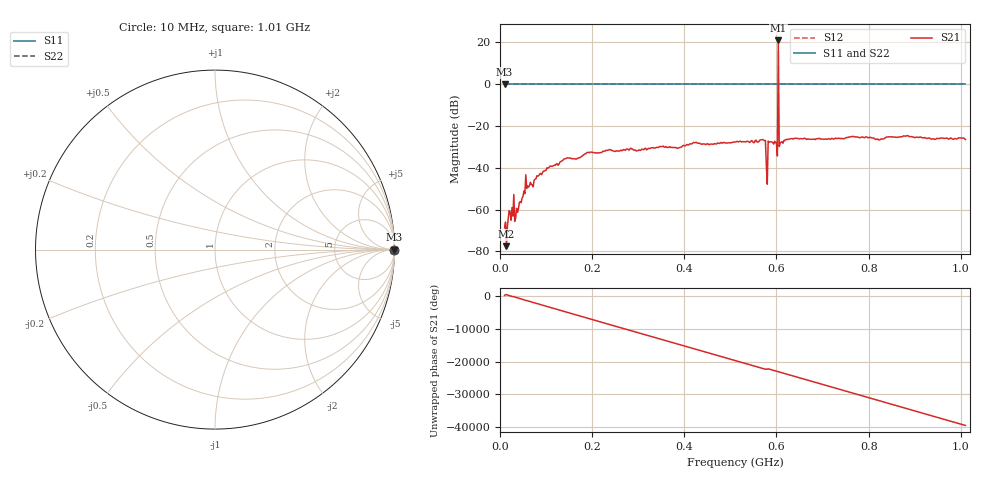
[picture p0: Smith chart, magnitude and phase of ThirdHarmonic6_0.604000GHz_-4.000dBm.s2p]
! 8/15/2025 7:43:51 PM
! C:\ANRITSUVNA\TEMP\TEMP.S2P
! CHANNEL.1
! TR.MEASUREMENT
! RAW.DATA
! RF.CORRECTION.OFF
! AVERAGING.OFF
! IF.BANDWIDTH: 5KHZ
! SWEEPTYPE:  FREQ.SWEEP(Linear)
! Reference Plane Port Info
! PORT:  PORT1  PORT2
! DISTANCE:  0  m  0  m
! TIME:  0  s  0  s
! PHASE.OFFSET:  0  deg.  0  deg.
! LOSS:  0  dB  0  dB
! REF.LOSS:  0  dB  0  dB
! REF.FREQ:  0  Hz  0  Hz
! Power Info
! POWER:  -20  dBm  -20  dBm
! EFF.POWER:  -20  dBm  -20  dBm
! SOURCE.ATTEN:  0  dB  0  dB
! TEST.ATTEN:  0  dB  0  dB
# GHZ S RI R 50.0
! FREQ.GHZ  S11RE  S11IM  S21RE  S21IM  S12RE  S12IM  S22RE  S22IM
!; PortSelection: Port_12
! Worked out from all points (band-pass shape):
!   501 points, 10 MHz to 1.01 GHz, reference 50 ohm
!   highest |S21| = 20.96 dB at 604 MHz (marker M1); lowest = -77.5 dB at 14 MHz (marker M2)
!   |S21| within 3 dB of the highest: 603.8915 MHz to 604.1182 MHz (226.7 kHz wide, 0.0375 % of centre)
!   lowest |S11| = 0.0 dB at 10 MHz (marker M3)
!   |S11| at or under -10 dB: nowhere
!   |S22| runs from 0.0 to 0.0 dB; largest |S21 - S12| = 10
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0.01  1 0  -0.000359 5.59e-05  1 0  1 0
0.014  1 0  8.21e-05 0.000105  1 0  1 0
0.022  1 0  0.000816 -0.000316  1 0  1 0
0.026  1 0  -0.00111 5.1e-05  1 0  1 0
0.036  1 0  -0.000983 -0.000431  1 0  1 0
0.06  1 0  0.00159 -0.00331  1 0  1 0
0.106  1 0  -0.00568 -0.0083  1 0  1 0
0.178  1 0  -0.0188 -0.00327  1 0  1 0
0.344  1 0  0.0291 -0.00989  1 0  1 0
0.51  1 0  -0.036 0.0209  1 0  1 0
0.572  1 0  -0.0456 0.0055  1 0  1 0
0.576  1 0  0.0443 0.00679  1 0  1 0
0.582  1 0  -0.027 0.0341  1 0  1 0
0.586  1 0  0.037 -0.0202  1 0  1 0
0.598  1 0  -0.034 -0.0209  1 0  1 0
0.6  1 0  -0.0281 0.0293  1 0  1 0
0.604  1 0  11.11 1.139  1 0  1 0
0.608  1 0  -0.0387 0.00343  1 0  1 0
0.61  1 0  -0.00519 0.0407  1 0  1 0
0.678  1 0  -0.0304 -0.0372  1 0  1 0
0.844  1 0  0.0485 0.0263  1 0  1 0
1.01  1 0  -0.0474 0.00236  1 0  1 0
